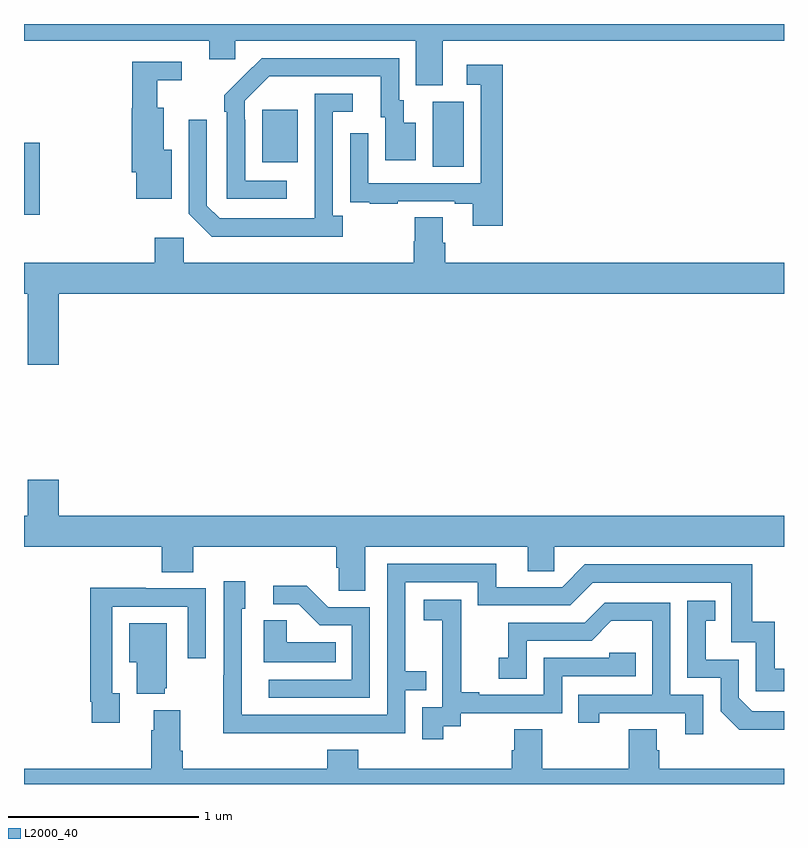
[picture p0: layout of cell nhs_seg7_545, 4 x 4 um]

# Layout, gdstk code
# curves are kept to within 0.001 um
import gdstk
lib = gdstk.Library(unit=1e-6, precision=1e-09)
def R(c, l, rs):  # rectangles x0, y0, x1, y1
    for r in rs: c.add(gdstk.rectangle(r[:2], r[2:], *l))
def P(c, l, *ps):  # polygons
    for p in ps: c.add(gdstk.Polygon(p, *l))
L2000_40 = (2000, 40)

nhs_seg7_545 = lib.new_cell('nhs_seg7_545')
R(nhs_seg7_545, L2000_40, [(153,1036.995,153.083,1037.376), (155.15,1037.248,155.314,1037.592), (154.253,1037.273,154.441,1037.548)])
P(nhs_seg7_545, L2000_40, [(155.203,1037.912),(157,1037.912),(157,1038),(153,1038),(153,1037.912),(153.974,1037.912),(153.974,1037.814),(154.113,1037.814),(154.113,1037.912),(155.063,1037.912),(155.063,1037.677),(155.203,1037.677)],
  [(154.384,1037.175),(154.164,1037.175),(154.164,1037.495),(154.161,1037.495),(154.161,1037.595),(154.29,1037.724),(154.877,1037.724),(154.877,1037.508),(154.901,1037.508),(154.901,1037.283),(155.062,1037.283),(155.062,1037.479),(154.999,1037.479),(154.999,1037.598),(154.974,1037.598),(154.974,1037.82),(154.25,1037.82),(154.053,1037.625),(154.053,1037.537),(154.068,1037.537),(154.068,1037.079),(154.384,1037.079)],
  [(153.778,1037.338),(153.736,1037.338),(153.736,1037.56),(153.7,1037.56),(153.7,1037.705),(153.829,1037.705),(153.829,1037.802),(153.571,1037.802),(153.571,1037.556),(153.566,1037.556),(153.566,1037.22),(153.59,1037.22),(153.59,1037.081),(153.778,1037.081)],
  [(155.519,1037.785),(155.331,1037.785),(155.331,1037.679),(155.403,1037.679),(155.403,1037.163),(154.812,1037.163),(154.812,1037.425),(154.716,1037.425),(154.716,1037.17),(154.717,1037.17),(154.717,1037.061),(154.819,1037.061),(154.819,1037.055),(154.967,1037.055),(154.967,1037.067),(155.267,1037.067),(155.267,1037.055),(155.363,1037.055),(155.363,1036.938),(155.519,1036.938)],
  [(154.678,1036.99),(154.626,1036.99),(154.626,1037.538),(154.729,1037.538),(154.729,1037.634),(154.53,1037.634),(154.529,1036.977),(154.029,1036.977),(153.963,1037.043),(153.963,1037.497),(153.867,1037.497),(153.867,1037.001),(153.988,1036.88),(154.678,1036.88)],
  [(153.184,1036.58),(157,1036.58),(157,1036.744),(155.216,1036.744),(155.216,1036.85),(155.203,1036.85),(155.203,1036.982),(155.056,1036.982),(155.056,1036.857),(155.051,1036.857),(155.051,1036.744),(153.84,1036.744),(153.84,1036.876),(153.689,1036.876),(153.689,1036.744),(153,1036.744),(153,1036.58),(153.02,1036.58),(153.02,1036.206),(153.184,1036.206)],
  [(154.795,1035.248),(155.651,1035.248),(155.651,1035.121),(155.79,1035.121),(155.79,1035.248),(157,1035.248),(157,1035.412),(153.184,1035.412),(153.184,1035.601),(153.02,1035.601),(153.02,1035.412),(153,1035.412),(153,1035.248),(153.725,1035.248),(153.725,1035.115),(153.89,1035.115),(153.89,1035.248),(154.643,1035.248),(154.643,1035.139),(154.656,1035.139),(154.656,1035.016),(154.795,1035.016)],
  [(154.511,1034.268),(155.007,1034.268),(155.007,1034.493),(155.117,1034.493),(155.117,1034.594),(155.007,1034.594),(155.007,1035.063),(155.388,1035.063),(155.388,1034.94),(155.874,1034.94),(155.994,1035.06),(156.723,1035.06),(156.723,1034.745),(156.852,1034.745),(156.852,1034.487),(157,1034.487),(157,1034.607),(156.95,1034.607),(156.95,1034.853),(156.832,1034.853),(156.832,1035.156),(155.952,1035.156),(155.832,1035.036),(155.485,1035.036),(155.485,1035.159),(154.911,1035.159),(154.911,1034.364),(154.146,1034.364),(154.146,1034.922),(154.165,1034.922),(154.165,1035.067),(154.05,1035.067),(154.05,1034.573),(154.048,1034.573),(154.048,1034.267)],
  [(154.821,1034.931),(154.602,1034.931),(154.489,1035.044),(154.311,1035.044),(154.311,1034.946),(154.445,1034.946),(154.556,1034.835),(154.725,1034.835),(154.725,1034.55),(154.287,1034.55),(154.287,1034.454),(154.821,1034.454)],
  [(153.505,1034.478),(153.465,1034.478),(153.465,1034.934),(153.861,1034.934),(153.861,1034.661),(153.957,1034.661),(153.957,1035.03),(153.641,1035.03),(153.641,1035.032),(153.349,1035.032),(153.349,1034.434),(153.357,1034.434),(153.357,1034.322),(153.505,1034.322)],
  [(155.206,1034.305),(155.298,1034.305),(155.298,1034.373),(155.832,1034.373),(155.832,1034.568),(156.221,1034.568),(156.221,1034.691),(156.081,1034.691),(156.081,1034.664),(155.736,1034.664),(155.736,1034.469),(155.395,1034.469),(155.395,1034.482),(155.3,1034.482),(155.3,1034.765),(155.301,1034.765),(155.301,1034.971),(155.103,1034.971),(155.103,1034.861),(155.201,1034.861),(155.201,1034.632),(155.202,1034.632),(155.202,1034.403),(155.097,1034.403),(155.097,1034.235),(155.206,1034.235)],
  [(157,1034.382),(156.834,1034.382),(156.762,1034.454),(156.762,1034.655),(156.589,1034.655),(156.589,1034.859),(156.638,1034.859),(156.638,1034.965),(156.492,1034.965),(156.492,1034.559),(156.666,1034.559),(156.666,1034.382),(156.764,1034.285),(157,1034.285)],
  [(156.576,1034.469),(156.402,1034.469),(156.402,1034.955),(156.056,1034.955),(155.951,1034.85),(155.548,1034.85),(155.548,1034.665),(155.499,1034.665),(155.499,1034.555),(155.646,1034.555),(155.646,1034.754),(155.988,1034.754),(156.092,1034.858),(156.306,1034.858),(156.306,1034.469),(155.917,1034.469),(155.917,1034.322),(156.028,1034.322),(156.028,1034.373),(156.479,1034.373),(156.479,1034.262),(156.576,1034.262)],
  [(154.64,1034.746),(154.383,1034.746),(154.383,1034.861),(154.262,1034.861),(154.262,1034.642),(154.64,1034.642)],
  [(153.74,1034.505),(153.751,1034.505),(153.751,1034.845),(153.554,1034.845),(153.554,1034.642),(153.593,1034.642),(153.593,1034.474),(153.74,1034.474)],
  [(157,1034.08),(156.344,1034.08),(156.344,1034.178),(156.331,1034.178),(156.331,1034.288),(156.184,1034.288),(156.184,1034.08),(155.727,1034.08),(155.727,1034.288),(155.579,1034.288),(155.579,1034.178),(155.567,1034.178),(155.567,1034.08),(154.76,1034.08),(154.76,1034.179),(154.595,1034.179),(154.595,1034.08),(153.836,1034.08),(153.836,1034.176),(153.823,1034.176),(153.823,1034.389),(153.683,1034.389),(153.683,1034.282),(153.671,1034.282),(153.671,1034.08),(153,1034.08),(153,1034),(157,1034)])

lib.write_gds('nhs_seg7_545.gds')
